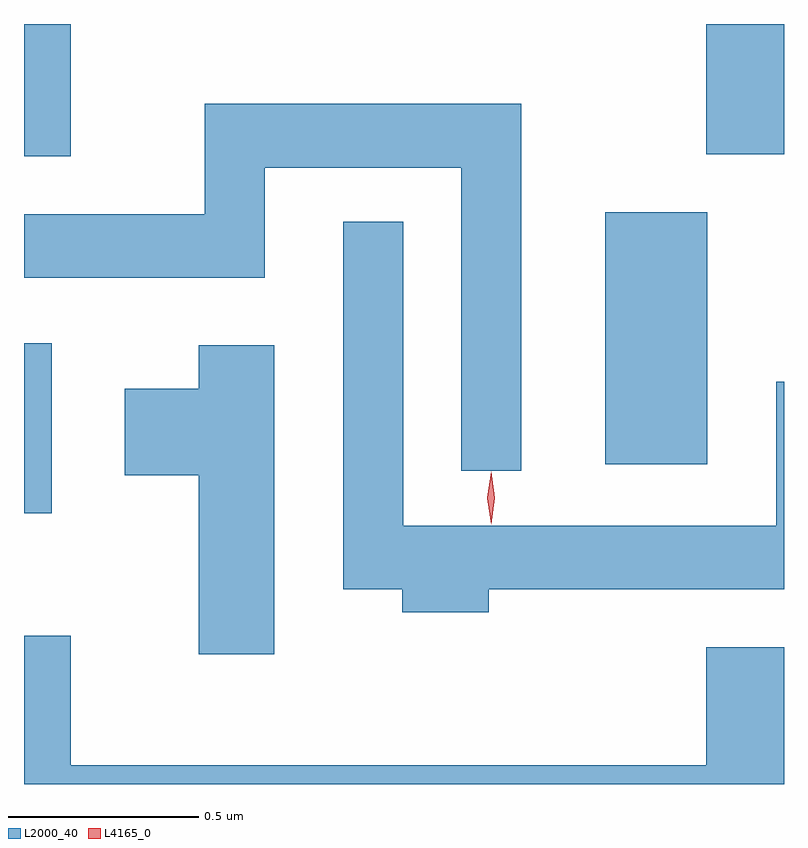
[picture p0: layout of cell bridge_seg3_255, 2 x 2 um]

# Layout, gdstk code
import gdstk
lib = gdstk.Library(unit=1e-6, precision=1e-09)
def R(c, l, rs):  # rectangles x0, y0, x1, y1
    for r in rs: c.add(gdstk.rectangle(r[:2], r[2:], *l))
def P(c, l, *ps):  # polygons
    for p in ps: c.add(gdstk.Polygon(p, *l))
L2000_40 = (2000, 40)
L4165_0 = (4165, 0)

bridge_seg3_255 = lib.new_cell('bridge_seg3_255')
R(bridge_seg3_255, L2000_40, [(986.656,1135.826,986.729,1136.274), (988.186,1135.956,988.454,1136.619), (986.656,1136.766,986.779,1137.114), (988.451,1136.771,988.656,1137.114)])
P(bridge_seg3_255, L2000_40, [(987.964,1136.904),(987.131,1136.904),(987.131,1136.614),(986.656,1136.614),(986.656,1136.446),(987.289,1136.446),(987.289,1136.736),(987.806,1136.736),(987.806,1135.938),(987.964,1135.938)],
  [(987.879,1135.626),(988.656,1135.626),(988.656,1136.173),(988.636,1136.173),(988.636,1135.794),(987.654,1135.794),(987.654,1136.593),(987.496,1136.593),(987.496,1135.626),(987.651,1135.626),(987.651,1135.566),(987.879,1135.566)],
  [(987.314,1136.269),(987.116,1136.269),(987.116,1136.154),(986.921,1136.154),(986.921,1135.926),(987.116,1135.926),(987.116,1135.456),(987.314,1135.456)],
  [(988.656,1135.474),(988.451,1135.474),(988.451,1135.164),(986.779,1135.164),(986.779,1135.504),(986.656,1135.504),(986.656,1135.114),(988.656,1135.114)])
P(bridge_seg3_255, L4165_0, [(987.885,1135.797),(987.885,1135.798),(987.875,1135.867),(987.885,1135.936),(987.885,1135.936),(987.886,1135.936),(987.895,1135.867),(987.886,1135.798)],
  [(987.885,1135.799),(987.885,1135.8),(987.875,1135.866),(987.885,1135.932),(987.885,1135.933),(987.886,1135.932),(987.895,1135.866),(987.886,1135.8)])

lib.write_gds('bridge_seg3_255.gds')
